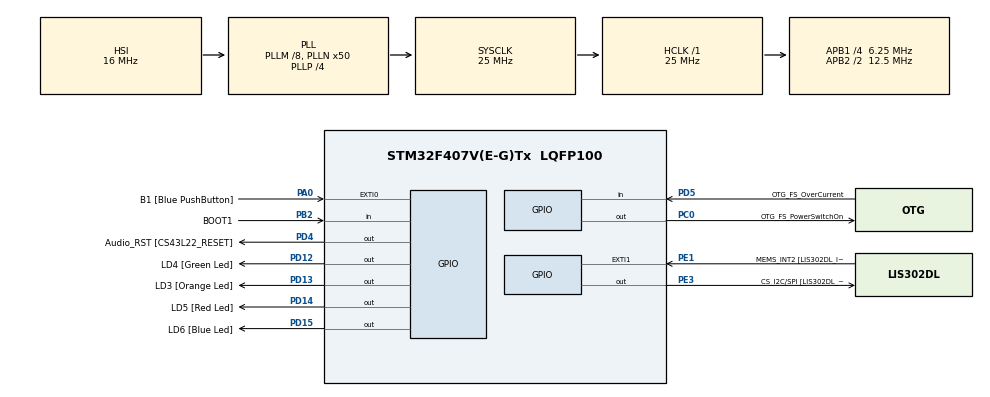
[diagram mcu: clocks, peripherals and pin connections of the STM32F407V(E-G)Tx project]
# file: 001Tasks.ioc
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Mcu.Family=STM32F4
Mcu.Name=STM32F407V(E-G)Tx
Mcu.Package=LQFP100
NVIC.PriorityGroup=NVIC_PRIORITYGROUP_4
NVIC.TIM6_DAC_IRQn=true\:15\:0\:false\:false\:true\:false\:true\:true
NVIC.TimeBase=TIM6_DAC_IRQn
NVIC.TimeBaseIP=TIM6
PA0-WKUP.GPIO_Label=B1 [Blue PushButton]
PA0-WKUP.Signal=GPXTI0
PA10.GPIO_Label=OTG_FS_ID
PA10.GPIO_Mode=GPIO_MODE_AF_PP
PA10.GPIO_PuPd=GPIO_NOPULL
PA10.GPIO_Speed=GPIO_SPEED_FREQ_LOW
PA10.Signal=USB_OTG_FS_ID
PA11.GPIO_Label=OTG_FS_DM
PA11.GPIO_Mode=GPIO_MODE_AF_PP
PA11.GPIO_PuPd=GPIO_NOPULL
PA11.GPIO_Speed=GPIO_SPEED_FREQ_LOW
PA11.Signal=USB_OTG_FS_DM
PA12.GPIO_Label=OTG_FS_DP
PA12.GPIO_Mode=GPIO_MODE_AF_PP
PA12.GPIO_PuPd=GPIO_NOPULL
PA12.GPIO_Speed=GPIO_SPEED_FREQ_LOW
PA12.Signal=USB_OTG_FS_DP
PA13.GPIO_Label=SWDIO
PA13.Signal=SYS_JTMS-SWDIO
PA14.GPIO_Label=SWCLK
PA14.Signal=SYS_JTCK-SWCLK
PA4.GPIO_Label=I2S3_WS [CS43L22_LRCK]
PA4.GPIO_Mode=GPIO_MODE_AF_PP
PA4.GPIO_PuPd=GPIO_NOPULL
PA4.GPIO_Speed=GPIO_SPEED_FREQ_LOW
PA4.Signal=I2S3_WS
PA5.GPIO_Label=SPI1_SCK [LIS302DL_SCL/SPC]
PA5.GPIO_Mode=GPIO_MODE_AF_PP
PA5.GPIO_PuPd=GPIO_NOPULL
PA5.GPIO_Speed=GPIO_SPEED_FREQ_LOW
PA5.Signal=SPI1_SCK
PA6.GPIO_Label=SPI1_MISO [LIS302DL_SDO]
PA6.GPIO_Mode=GPIO_MODE_AF_PP
PA6.GPIO_PuPd=GPIO_NOPULL
PA6.GPIO_Speed=GPIO_SPEED_FREQ_LOW
PA6.Signal=SPI1_MISO
PA7.GPIO_Label=SPI1_MOSI [LIS302DL_SDA/SDI/SDO]
PA7.GPIO_Mode=GPIO_MODE_AF_PP
PA7.GPIO_PuPd=GPIO_NOPULL
PA7.GPIO_Speed=GPIO_SPEED_FREQ_LOW
PA7.Signal=SPI1_MOSI
PA9.GPIO_Label=VBUS_FS
PA9.GPIO_Mode=GPIO_MODE_INPUT
PA9.GPIO_PuPd=GPIO_NOPULL
PA9.Signal=USB_OTG_FS_VBUS
PB10.GPIO_Label=CLK_IN [MP45DT02_CLK]
PB10.GPIO_Mode=GPIO_MODE_AF_PP
PB10.GPIO_PuPd=GPIO_NOPULL
PB10.GPIO_Speed=GPIO_SPEED_FREQ_LOW
PB10.Signal=I2S2_CK
PB2.GPIO_Label=BOOT1
PB2.GPIO_Mode=GPIO_MODE_INPUT
PB2.GPIO_PuPd=GPIO_NOPULL
PB2.Signal=GPIO_Input
PB3.GPIO_Label=SWO
PB3.Signal=SYS_JTDO-SWO
PB6.GPIO_Label=Audio_SCL [CS43L22_SCL]
PB6.GPIO_Mode=GPIO_MODE_AF_OD
PB6.GPIO_PuPd=GPIO_NOPULL
PB6.GPIO_Speed=GPIO_SPEED_FREQ_LOW
PB6.Signal=I2C1_SCL
PB9.GPIO_Label=Audio_SDA [CS43L22_SDA]
PB9.GPIO_Mode=GPIO_MODE_AF_OD
PB9.GPIO_PuPd=GPIO_NOPULL
PB9.GPIO_Speed=GPIO_SPEED_FREQ_LOW
PB9.Signal=I2C1_SDA
PC0.GPIO_Label=OTG_FS_PowerSwitchOn
PC0.GPIO_PuPd=GPIO_NOPULL
PC0.GPIO_Speed=GPIO_SPEED_FREQ_LOW
PC0.PinState=GPIO_PIN_SET
PC0.Signal=GPIO_Output
PC10.GPIO_Label=I2S3_SCK [CS43L22_SCLK]
PC10.GPIO_Mode=GPIO_MODE_AF_PP
PC10.GPIO_PuPd=GPIO_NOPULL
PC10.GPIO_Speed=GPIO_SPEED_FREQ_LOW
PC10.Signal=I2S3_CK
PC12.GPIO_Label=I2S3_SD [CS43L22_SDIN]
PC12.GPIO_Mode=GPIO_MODE_AF_PP
PC12.GPIO_PuPd=GPIO_NOPULL
PC12.GPIO_Speed=GPIO_SPEED_FREQ_LOW
PC12.Signal=I2S3_SD
PC14-OSC32_IN.GPIO_Label=PC14-OSC32_IN
PC14-OSC32_IN.Signal=RCC_OSC32_IN
PC15-OSC32_OUT.GPIO_Label=PC15-OSC32_OUT
PC15-OSC32_OUT.Signal=RCC_OSC32_OUT
PC3.GPIO_Label=PDM_OUT [MP45DT02_DOUT]
PC3.GPIO_Mode=GPIO_MODE_AF_PP
PC3.GPIO_PuPd=GPIO_NOPULL
PC3.GPIO_Speed=GPIO_SPEED_FREQ_LOW
PC3.Signal=I2S2_SD
PC7.GPIO_Label=I2S3_MCK [CS43L22_MCLK]
PC7.GPIO_Mode=GPIO_MODE_AF_PP
PC7.GPIO_PuPd=GPIO_NOPULL
PC7.GPIO_Speed=GPIO_SPEED_FREQ_LOW
PC7.Signal=I2S3_MCK
PD12.GPIO_Label=LD4 [Green Led]
PD12.GPIO_PuPd=GPIO_NOPULL
PD12.GPIO_Speed=GPIO_SPEED_FREQ_LOW
PD12.Signal=GPIO_Output
PD13.GPIO_Label=LD3 [Orange Led]
PD13.GPIO_PuPd=GPIO_NOPULL
PD13.GPIO_Speed=GPIO_SPEED_FREQ_LOW
PD13.Signal=GPIO_Output
PD14.GPIO_Label=LD5 [Red Led]
PD14.GPIO_PuPd=GPIO_NOPULL
PD14.GPIO_Speed=GPIO_SPEED_FREQ_LOW
PD14.Signal=GPIO_Output
PD15.GPIO_Label=LD6 [Blue Led]
PD15.GPIO_PuPd=GPIO_NOPULL
PD15.GPIO_Speed=GPIO_SPEED_FREQ_LOW
PD15.Signal=GPIO_Output
PD4.GPIO_Label=Audio_RST [CS43L22_RESET]
PD4.GPIO_PuPd=GPIO_NOPULL
PD4.GPIO_Speed=GPIO_SPEED_FREQ_LOW
PD4.Signal=GPIO_Output
PD5.GPIO_Label=OTG_FS_OverCurrent
PD5.GPIO_Mode=GPIO_MODE_INPUT
PD5.GPIO_PuPd=GPIO_NOPULL
PD5.Signal=GPIO_Input
PE1.GPIO_Label=MEMS_INT2 [LIS302DL_INT2]
PE1.GPIO_ModeDefaultEXTI=GPIO_MODE_EVT_RISING
PE1.GPIO_PuPd=GPIO_NOPULL
PE1.Signal=GPXTI1
PE3.GPIO_Label=CS_I2C/SPI [LIS302DL_CS_I2C/SPI]
PE3.GPIO_PuPd=GPIO_NOPULL
PE3.GPIO_Speed=GPIO_SPEED_FREQ_LOW
PE3.Signal=GPIO_Output
PH0-OSC_IN.GPIO_Label=PH0-OSC_IN
PH0-OSC_IN.Signal=RCC_OSC_IN
PH1-OSC_OUT.GPIO_Label=PH1-OSC_OUT
PH1-OSC_OUT.Signal=RCC_OSC_OUT
ProjectManager.HeapSize=0x200
ProjectManager.StackSize=0x400
ProjectManager.TargetToolchain=STM32CubeIDE
RCC.48MHZClocksFreq_Value=14285714.285714285
RCC.AHBFreq_Value=25000000
RCC.APB1CLKDivider=RCC_HCLK_DIV4
RCC.APB1Freq_Value=6250000
RCC.APB1TimFreq_Value=12500000
RCC.APB2CLKDivider=RCC_HCLK_DIV2
RCC.APB2Freq_Value=12500000
RCC.APB2TimFreq_Value=25000000
RCC.CortexFreq_Value=25000000
RCC.HCLKFreq_Value=25000000
RCC.HSE_VALUE=8000000
RCC.HSI_VALUE=16000000
RCC.LSE_VALUE=32768
RCC.PLLM=8
RCC.PLLN=50
RCC.PLLP=RCC_PLLP_DIV4
RCC.PLLQ=7
RCC.SYSCLKFreq_VALUE=25000000
RCC.SYSCLKSource=RCC_SYSCLKSOURCE_PLLCLK
RCC.VCOOutputFreq_Value=100000000
VP_SYS_VS_tim6.Mode=TIM6
board=STM32F407G-DISC1

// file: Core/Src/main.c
/* USER CODE BEGIN Header */
/**
  ******************************************************************************
  * @file           : main.c
  * @brief          : Main program body
  ******************************************************************************
  * @attention
  *
  * Copyright (c) 2023 STMicroelectronics.
  * All rights reserved.
  *
  * This software is licensed under terms that can be found in the LICENSE file
  * in the root directory of this software component.
  * If no LICENSE file comes with this software, it is provided AS-IS.
  *
  ******************************************************************************
  */
/* USER CODE END Header */
#include "main.h"

/* USER CODE BEGIN Includes */
#include <stdio.h>

#include "../../ThirdParty/FreeRTOS/include/FreeRTOS.h"
#include "../../ThirdParty/FreeRTOS/include/task.h"
/* USER CODE END Includes */

/* USER CODE BEGIN PD */
static void task1_handler(void* parameters);
static void task2_handler(void* parameters);
/* USER CODE END PD */

/* USER CODE BEGIN PV */
#define DWT_CTRL	(*(volatile uint32_t*)0xE0001000)

/* USER CODE END PV */

void SystemClock_Config(void);
static void MX_GPIO_Init(void);

int main(void)
{
  /* USER CODE BEGIN 1 */
	TaskHandle_t task1_handle;
	TaskHandle_t task2_handle;

	BaseType_t status;
  /* USER CODE END 1 */

  /* MCU Configuration--------------------------------------------------------*/

  /* Reset of all peripherals, Initializes the Flash interface and the Systick. */
  HAL_Init();

  /* Configure the system clock */
  SystemClock_Config();

  /* Initialize all configured peripherals */
  MX_GPIO_Init();

  /* USER CODE BEGIN 2 */

  DWT_CTRL |= (1 << 0);

  SEGGER_SYSVIEW_Conf();
  SEGGER_SYSVIEW_Start();

  status = xTaskCreate(task1_handler, "Task-1", 200, "Hello world from Task-1", 2, &task1_handle);

  configASSERT(status == pdPASS);

  status = xTaskCreate(task2_handler, "Task-2", 200, "Hello world from Task-2", 2, &task2_handle);

  configASSERT(status == pdPASS);

  //start the freeRTOS scheduler
  vTaskStartScheduler();

  /* USER CODE END 2 */

  /* Infinite loop */
  while (1)
  {

  }
}

void SystemClock_Config(void)
{
  RCC_OscInitTypeDef RCC_OscInitStruct = {0};
  RCC_ClkInitTypeDef RCC_ClkInitStruct = {0};

  /** Configure the main internal regulator output voltage
  */
  __HAL_RCC_PWR_CLK_ENABLE();
  __HAL_PWR_VOLTAGESCALING_CONFIG(PWR_REGULATOR_VOLTAGE_SCALE1);

  /** Initializes the RCC Oscillators according to the specified parameters
  * in the RCC_OscInitTypeDef structure.
  */
  RCC_OscInitStruct.OscillatorType = RCC_OSCILLATORTYPE_HSI;
  RCC_OscInitStruct.HSIState = RCC_HSI_ON;
  RCC_OscInitStruct.HSICalibrationValue = RCC_HSICALIBRATION_DEFAULT;
  RCC_OscInitStruct.PLL.PLLState = RCC_PLL_ON;
  RCC_OscInitStruct.PLL.PLLSource = RCC_PLLSOURCE_HSI;
  RCC_OscInitStruct.PLL.PLLM = 8;
  RCC_OscInitStruct.PLL.PLLN = 50;
  RCC_OscInitStruct.PLL.PLLP = RCC_PLLP_DIV4;
  RCC_OscInitStruct.PLL.PLLQ = 7;
  if (HAL_RCC_OscConfig(&RCC_OscInitStruct) != HAL_OK)
  {
    Error_Handler();
  }

  /** Initializes the CPU, AHB and APB buses clocks
  */
  RCC_ClkInitStruct.ClockType = RCC_CLOCKTYPE_HCLK|RCC_CLOCKTYPE_SYSCLK
                              |RCC_CLOCKTYPE_PCLK1|RCC_CLOCKTYPE_PCLK2;
  RCC_ClkInitStruct.SYSCLKSource = RCC_SYSCLKSOURCE_PLLCLK;
  RCC_ClkInitStruct.AHBCLKDivider = RCC_SYSCLK_DIV1;
  RCC_ClkInitStruct.APB1CLKDivider = RCC_HCLK_DIV4;
  RCC_ClkInitStruct.APB2CLKDivider = RCC_HCLK_DIV2;

  if (HAL_RCC_ClockConfig(&RCC_ClkInitStruct, FLASH_LATENCY_0) != HAL_OK)
  {
    Error_Handler();
  }
}

static void MX_GPIO_Init(void)
{
  GPIO_InitTypeDef GPIO_InitStruct = {0};

  /* GPIO Ports Clock Enable */
  __HAL_RCC_GPIOE_CLK_ENABLE();
  __HAL_RCC_GPIOC_CLK_ENABLE();
  __HAL_RCC_GPIOH_CLK_ENABLE();
  __HAL_RCC_GPIOA_CLK_ENABLE();
  __HAL_RCC_GPIOB_CLK_ENABLE();
  __HAL_RCC_GPIOD_CLK_ENABLE();

  /*Configure GPIO pin Output Level */
  HAL_GPIO_WritePin(CS_I2C_SPI_GPIO_Port, CS_I2C_SPI_Pin, GPIO_PIN_RESET);

  /*Configure GPIO pin Output Level */
  HAL_GPIO_WritePin(OTG_FS_PowerSwitchOn_GPIO_Port, OTG_FS_PowerSwitchOn_Pin, GPIO_PIN_SET);

  /*Configure GPIO pin Output Level */
  HAL_GPIO_WritePin(GPIOD, LD4_Pin|LD3_Pin|LD5_Pin|LD6_Pin
                          |Audio_RST_Pin, GPIO_PIN_RESET);

  /*Configure GPIO pin : CS_I2C_SPI_Pin */
  GPIO_InitStruct.Pin = CS_I2C_SPI_Pin;
  GPIO_InitStruct.Mode = GPIO_MODE_OUTPUT_PP;
  GPIO_InitStruct.Pull = GPIO_NOPULL;
  GPIO_InitStruct.Speed = GPIO_SPEED_FREQ_LOW;
  HAL_GPIO_Init(CS_I2C_SPI_GPIO_Port, &GPIO_InitStruct);

  /*Configure GPIO pin : OTG_FS_PowerSwitchOn_Pin */
  GPIO_InitStruct.Pin = OTG_FS_PowerSwitchOn_Pin;
  GPIO_InitStruct.Mode = GPIO_MODE_OUTPUT_PP;
  GPIO_InitStruct.Pull = GPIO_NOPULL;
  GPIO_InitStruct.Speed = GPIO_SPEED_FREQ_LOW;
  HAL_GPIO_Init(OTG_FS_PowerSwitchOn_GPIO_Port, &GPIO_InitStruct);

  /*Configure GPIO pin : PDM_OUT_Pin */
  GPIO_InitStruct.Pin = PDM_OUT_Pin;
  GPIO_InitStruct.Mode = GPIO_MODE_AF_PP;
  GPIO_InitStruct.Pull = GPIO_NOPULL;
  GPIO_InitStruct.Speed = GPIO_SPEED_FREQ_LOW;
  GPIO_InitStruct.Alternate = GPIO_AF5_SPI2;
  HAL_GPIO_Init(PDM_OUT_GPIO_Port, &GPIO_InitStruct);

  /*Configure GPIO pin : B1_Pin */
  GPIO_InitStruct.Pin = B1_Pin;
  GPIO_InitStruct.Mode = GPIO_MODE_IT_RISING;
  GPIO_InitStruct.Pull = GPIO_NOPULL;
  HAL_GPIO_Init(B1_GPIO_Port, &GPIO_InitStruct);

  /*Configure GPIO pin : I2S3_WS_Pin */
  GPIO_InitStruct.Pin = I2S3_WS_Pin;
  GPIO_InitStruct.Mode = GPIO_MODE_AF_PP;
  GPIO_InitStruct.Pull = GPIO_NOPULL;
  GPIO_InitStruct.Speed = GPIO_SPEED_FREQ_LOW;
  GPIO_InitStruct.Alternate = GPIO_AF6_SPI3;
  HAL_GPIO_Init(I2S3_WS_GPIO_Port, &GPIO_InitStruct);

  /*Configure GPIO pins : SPI1_SCK_Pin SPI1_MISO_Pin SPI1_MOSI_Pin */
  GPIO_InitStruct.Pin = SPI1_SCK_Pin|SPI1_MISO_Pin|SPI1_MOSI_Pin;
  GPIO_InitStruct.Mode = GPIO_MODE_AF_PP;
  GPIO_InitStruct.Pull = GPIO_NOPULL;
  GPIO_InitStruct.Speed = GPIO_SPEED_FREQ_LOW;
  GPIO_InitStruct.Alternate = GPIO_AF5_SPI1;
  HAL_GPIO_Init(GPIOA, &GPIO_InitStruct);

  /*Configure GPIO pin : BOOT1_Pin */
  GPIO_InitStruct.Pin = BOOT1_Pin;
  GPIO_InitStruct.Mode = GPIO_MODE_INPUT;
  GPIO_InitStruct.Pull = GPIO_NOPULL;
  HAL_GPIO_Init(BOOT1_GPIO_Port, &GPIO_InitStruct);

  /*Configure GPIO pin : CLK_IN_Pin */
  GPIO_InitStruct.Pin = CLK_IN_Pin;
  GPIO_InitStruct.Mode = GPIO_MODE_AF_PP;
  GPIO_InitStruct.Pull = GPIO_NOPULL;
  GPIO_InitStruct.Speed = GPIO_SPEED_FREQ_LOW;
  GPIO_InitStruct.Alternate = GPIO_AF5_SPI2;
  HAL_GPIO_Init(CLK_IN_GPIO_Port, &GPIO_InitStruct);

  /*Configure GPIO pins : LD4_Pin LD3_Pin LD5_Pin LD6_Pin
                           Audio_RST_Pin */
  GPIO_InitStruct.Pin = LD4_Pin|LD3_Pin|LD5_Pin|LD6_Pin
                          |Audio_RST_Pin;
  GPIO_InitStruct.Mode = GPIO_MODE_OUTPUT_PP;
  GPIO_InitStruct.Pull = GPIO_NOPULL;
  GPIO_InitStruct.Speed = GPIO_SPEED_FREQ_LOW;
  HAL_GPIO_Init(GPIOD, &GPIO_InitStruct);

  /*Configure GPIO pins : I2S3_MCK_Pin I2S3_SCK_Pin I2S3_SD_Pin */
  GPIO_InitStruct.Pin = I2S3_MCK_Pin|I2S3_SCK_Pin|I2S3_SD_Pin;
  GPIO_InitStruct.Mode = GPIO_MODE_AF_PP;
  GPIO_InitStruct.Pull = GPIO_NOPULL;
  GPIO_InitStruct.Speed = GPIO_SPEED_FREQ_LOW;
  GPIO_InitStruct.Alternate = GPIO_AF6_SPI3;
  HAL_GPIO_Init(GPIOC, &GPIO_InitStruct);

  /*Configure GPIO pin : VBUS_FS_Pin */
  GPIO_InitStruct.Pin = VBUS_FS_Pin;
  GPIO_InitStruct.Mode = GPIO_MODE_INPUT;
  GPIO_InitStruct.Pull = GPIO_NOPULL;
  HAL_GPIO_Init(VBUS_FS_GPIO_Port, &GPIO_InitStruct);

  /*Configure GPIO pins : OTG_FS_ID_Pin OTG_FS_DM_Pin OTG_FS_DP_Pin */
  GPIO_InitStruct.Pin = OTG_FS_ID_Pin|OTG_FS_DM_Pin|OTG_FS_DP_Pin;
  GPIO_InitStruct.Mode = GPIO_MODE_AF_PP;
  GPIO_InitStruct.Pull = GPIO_NOPULL;
  GPIO_InitStruct.Speed = GPIO_SPEED_FREQ_LOW;
  GPIO_InitStruct.Alternate = GPIO_AF10_OTG_FS;
  HAL_GPIO_Init(GPIOA, &GPIO_InitStruct);

  /*Configure GPIO pin : OTG_FS_OverCurrent_Pin */
  GPIO_InitStruct.Pin = OTG_FS_OverCurrent_Pin;
  GPIO_InitStruct.Mode = GPIO_MODE_INPUT;
  GPIO_InitStruct.Pull = GPIO_NOPULL;
  HAL_GPIO_Init(OTG_FS_OverCurrent_GPIO_Port, &GPIO_InitStruct);

  /*Configure GPIO pins : Audio_SCL_Pin Audio_SDA_Pin */
  GPIO_InitStruct.Pin = Audio_SCL_Pin|Audio_SDA_Pin;
  GPIO_InitStruct.Mode = GPIO_MODE_AF_OD;
  GPIO_InitStruct.Pull = GPIO_NOPULL;
  GPIO_InitStruct.Speed = GPIO_SPEED_FREQ_LOW;
  GPIO_InitStruct.Alternate = GPIO_AF4_I2C1;
  HAL_GPIO_Init(GPIOB, &GPIO_InitStruct);

  /*Configure GPIO pin : MEMS_INT2_Pin */
  GPIO_InitStruct.Pin = MEMS_INT2_Pin;
  GPIO_InitStruct.Mode = GPIO_MODE_EVT_RISING;
  GPIO_InitStruct.Pull = GPIO_NOPULL;
  HAL_GPIO_Init(MEMS_INT2_GPIO_Port, &GPIO_InitStruct);

}

/* USER CODE BEGIN 4 */
static void task1_handler(void* parameters)
{
	char msg[100];

		while(1)
		{
			snprintf(msg,100,"%s\n", (char*)parameters);
			SEGGER_SYSVIEW_PrintfTarget(msg);
			taskYIELD();
		}

}

static void task2_handler(void* parameters)
{
	char msg[100];

			while(1)
			{
				snprintf(msg,100,"%s\n", (char*)parameters);
				SEGGER_SYSVIEW_PrintfTarget(msg);
				taskYIELD();
			}

}
/* USER CODE END 4 */

void HAL_TIM_PeriodElapsedCallback(TIM_HandleTypeDef *htim)
{
  if (htim->Instance == TIM6) {
    HAL_IncTick();
  }
}

void Error_Handler(void)
{
  __disable_irq();
  while (1)
  {
  }
}
